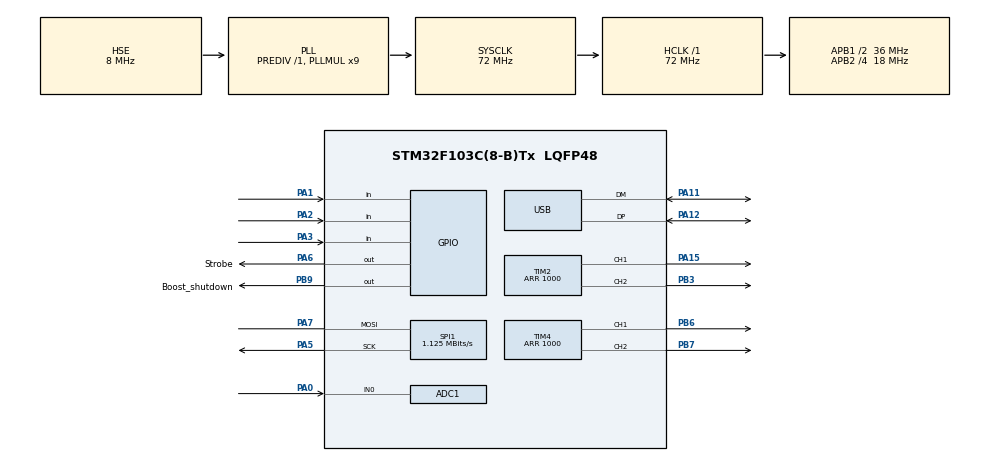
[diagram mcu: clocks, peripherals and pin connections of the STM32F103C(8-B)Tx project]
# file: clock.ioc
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ADC1.Channel-7\#ChannelRegularConversion=ADC_CHANNEL_0
ADC1.InjNumberOfConversion=0
ADC1.NbrOfConversionFlag=1
ADC1.Rank-7\#ChannelRegularConversion=1
ADC1.SamplingTime-7\#ChannelRegularConversion=ADC_SAMPLETIME_1CYCLE_5
ADC1.master=1
FREERTOS.Tasks01=defaultTask,0,128,StartDefaultTask,Default,NULL
FREERTOS.configTOTAL_HEAP_SIZE=4096
Mcu.Family=STM32F1
Mcu.Name=STM32F103C(8-B)Tx
Mcu.Package=LQFP48
NVIC.PriorityGroup=NVIC_PRIORITYGROUP_4
NVIC.SPI1_IRQn=true\:5\:0\:false\:false\:true\:true\:true
NVIC.TIM1_UP_IRQn=true\:0\:0\:false\:false\:true\:false\:false
NVIC.TIM3_IRQn=true\:10\:0\:true\:false\:true\:true\:true
NVIC.TimeBase=TIM1_UP_IRQn
NVIC.TimeBaseIP=TIM1
NVIC.USB_LP_CAN1_RX0_IRQn=true\:5\:0\:false\:false\:true\:true\:false
PA0-WKUP.Signal=ADCx_IN0
PA1.GPIO_PuPd=GPIO_PULLUP
PA1.Signal=GPIO_Input
PA11.Mode=Device
PA11.Signal=USB_DM
PA12.Mode=Device
PA12.Signal=USB_DP
PA13.Mode=Serial_Wire
PA13.Signal=SYS_JTMS-SWDIO
PA14.Mode=Serial_Wire
PA14.Signal=SYS_JTCK-SWCLK
PA15.Signal=S_TIM2_CH1_ETR
PA2.GPIO_PuPd=GPIO_PULLUP
PA2.Signal=GPIO_Input
PA3.GPIO_PuPd=GPIO_PULLUP
PA3.Signal=GPIO_Input
PA5.Mode=Simplex_Bidirectional_Master
PA5.Signal=SPI1_SCK
PA6.GPIO_Label=Strobe
PA6.Signal=GPIO_Output
PA7.Mode=Simplex_Bidirectional_Master
PA7.Signal=SPI1_MOSI
PB3.Signal=S_TIM2_CH2
PB6.Signal=S_TIM4_CH1
PB7.Signal=S_TIM4_CH2
PB9.GPIO_Label=Boost_shutdown
PB9.GPIO_PuPd=GPIO_NOPULL
PB9.PinState=GPIO_PIN_SET
PB9.Signal=GPIO_Output
PC14-OSC32_IN.Mode=LSE-External-Oscillator
PC14-OSC32_IN.Signal=RCC_OSC32_IN
PC15-OSC32_OUT.Mode=LSE-External-Oscillator
PC15-OSC32_OUT.Signal=RCC_OSC32_OUT
PD0-OSC_IN.Mode=HSE-External-Oscillator
PD0-OSC_IN.Signal=RCC_OSC_IN
PD1-OSC_OUT.Mode=HSE-External-Oscillator
PD1-OSC_OUT.Signal=RCC_OSC_OUT
ProjectManager.HeapSize=0x200
ProjectManager.StackSize=0x400
ProjectManager.TargetToolchain=EWARM V8
RCC.ADCPresc=RCC_ADCPCLK2_DIV6
RCC.AHBFreq_Value=72000000
RCC.APB1CLKDivider=RCC_HCLK_DIV2
RCC.APB1Freq_Value=36000000
RCC.APB1TimFreq_Value=72000000
RCC.APB2CLKDivider=RCC_HCLK_DIV4
RCC.APB2Freq_Value=18000000
RCC.APB2TimCLKDivider=2
RCC.APB2TimFreq_Value=36000000
RCC.EnbaleCSS=true
RCC.HCLKFreq_Value=72000000
RCC.LSE_Timout=500
RCC.PLLMUL=RCC_PLL_MUL9
RCC.PLLSourceVirtual=RCC_PLLSOURCE_HSE
RCC.RTCClockSelection=RCC_RTCCLKSOURCE_LSE
RCC.SYSCLKFreq_VALUE=72000000
RCC.SYSCLKSource=RCC_SYSCLKSOURCE_PLLCLK
RCC.USBFreq_Value=48000000
RCC.USBPrescaler=RCC_USBCLKSOURCE_PLL_DIV1_5
RTC.Date=21
RTC.Format=RTC_FORMAT_BIN
RTC.Hours=18
RTC.Month=RTC_MONTH_APRIL
RTC.WeekDay=RTC_WEEKDAY_SUNDAY
RTC.Year=19
SH.ADCx_IN0.0=ADC1_IN0,IN0
SH.S_TIM2_CH1_ETR.0=TIM2_CH1,PWM Generation1 CH1
SH.S_TIM2_CH2.0=TIM2_CH2,PWM Generation2 CH2
SH.S_TIM4_CH1.0=TIM4_CH1,PWM Generation1 CH1
SH.S_TIM4_CH2.0=TIM4_CH2,PWM Generation2 CH2
SPI1.BaudRatePrescaler=SPI_BAUDRATEPRESCALER_16
SPI1.CLKPhase=SPI_PHASE_2EDGE
SPI1.CLKPolarity=SPI_POLARITY_LOW
SPI1.CRCCalculation=SPI_CRCCALCULATION_DISABLE
SPI1.CalculateBaudRate=1.125 MBits/s
SPI1.Direction=SPI_DIRECTION_1LINE
SPI1.Mode=SPI_MODE_MASTER
SPI1.VirtualType=VM_MASTER
TIM2.Channel-PWM\ Generation1\ CH1=TIM_CHANNEL_1
TIM2.Channel-PWM\ Generation2\ CH2=TIM_CHANNEL_2
TIM2.Period=1000
TIM2.Pulse-PWM\ Generation1\ CH1=680
TIM2.Pulse-PWM\ Generation2\ CH2=680
TIM3.AutoReloadPreload=TIM_AUTORELOAD_PRELOAD_DISABLE
TIM3.Period=7200
TIM3.Prescaler=0
TIM4.Channel-PWM\ Generation1\ CH1=TIM_CHANNEL_1
TIM4.Channel-PWM\ Generation2\ CH2=TIM_CHANNEL_2
TIM4.Period=1000
TIM4.Pulse-PWM\ Generation1\ CH1=680
TIM4.Pulse-PWM\ Generation2\ CH2=680
USB_DEVICE.CLASS_NAME_FS=CDC
USB_DEVICE.VirtualMode=Cdc
USB_DEVICE.VirtualModeFS=Cdc_FS
VP_CRC_VS_CRC.Mode=CRC_Activate
VP_FREERTOS_VS_ENABLE.Mode=Enabled
VP_RTC_VS_RTC_Activate.Mode=RTC_Enabled
VP_RTC_VS_RTC_Calendar.Mode=RTC_Calendar
VP_SYS_VS_tim1.Mode=TIM1
VP_TIM3_VS_ClockSourceINT.Mode=Internal
VP_USB_DEVICE_VS_USB_DEVICE_CDC_FS.Mode=CDC_FS
board=custom

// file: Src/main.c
/* USER CODE BEGIN Header */
/**
  ******************************************************************************
  * @file           : main.c
  * @brief          : Main program body
  ******************************************************************************
  * This notice applies to any and all portions of this file
  * that are not between comment pairs USER CODE BEGIN and
  * USER CODE END. Other portions of this file, whether
  * inserted by the user or by software development tools
  * are owned by their respective copyright owners.
  *
  * Copyright (c) 2019 STMicroelectronics International N.V.
  * All rights reserved.
  *
  * Redistribution and use in source and binary forms, with or without
  * modification, are permitted, provided that the following conditions are met:
  *
  * 1. Redistribution of source code must retain the above copyright notice,
  *    this list of conditions and the following disclaimer.
  * 2. Redistributions in binary form must reproduce the above copyright notice,
  *    this list of conditions and the following disclaimer in the documentation
  *    and/or other materials provided with the distribution.
  * 3. Neither the name of STMicroelectronics nor the names of other
  *    contributors to this software may be used to endorse or promote products
  *    derived from this software without specific written permission.
  * 4. This software, including modifications and/or derivative works of this
  *    software, must execute solely and exclusively on microcontroller or
  *    microprocessor devices manufactured by or for STMicroelectronics.
  * 5. Redistribution and use of this software other than as permitted under
  *    this license is void and will automatically terminate your rights under
  *    this license.
  *
  * THIS SOFTWARE IS PROVIDED BY STMICROELECTRONICS AND CONTRIBUTORS "AS IS"
  * AND ANY EXPRESS, IMPLIED OR STATUTORY WARRANTIES, INCLUDING, BUT NOT
  * LIMITED TO, THE IMPLIED WARRANTIES OF MERCHANTABILITY, FITNESS FOR A
  * PARTICULAR PURPOSE AND NON-INFRINGEMENT OF THIRD PARTY INTELLECTUAL PROPERTY
  * RIGHTS ARE DISCLAIMED TO THE FULLEST EXTENT PERMITTED BY LAW. IN NO EVENT
  * SHALL STMICROELECTRONICS OR CONTRIBUTORS BE LIABLE FOR ANY DIRECT, INDIRECT,
  * INCIDENTAL, SPECIAL, EXEMPLARY, OR CONSEQUENTIAL DAMAGES (INCLUDING, BUT NOT
  * LIMITED TO, PROCUREMENT OF SUBSTITUTE GOODS OR SERVICES; LOSS OF USE, DATA,
  * OR PROFITS; OR BUSINESS INTERRUPTION) HOWEVER CAUSED AND ON ANY THEORY OF
  * LIABILITY, WHETHER IN CONTRACT, STRICT LIABILITY, OR TORT (INCLUDING
  * NEGLIGENCE OR OTHERWISE) ARISING IN ANY WAY OUT OF THE USE OF THIS SOFTWARE,
  * EVEN IF ADVISED OF THE POSSIBILITY OF SUCH DAMAGE.
  *
  ******************************************************************************
  */
/* USER CODE END Header */

#include "main.h"
#include "cmsis_os.h"
#include "adc.h"
#include "crc.h"
#include "rtc.h"
#include "spi.h"
#include "tim.h"
#include "usb_device.h"
#include "gpio.h"

/* USER CODE BEGIN Includes */
#include <stdio.h>
#include <stdarg.h>
/* USER CODE END Includes */

void SystemClock_Config(void);
void MX_FREERTOS_Init(void);
/* USER CODE BEGIN PFP */

void task_usb_read(void const * argument);
void StartButtonTask(void const * argument);

/* USER CODE END PFP */

/* USER CODE BEGIN 0 */

void term_print ( const char * format, ... )
{
  char buffer[32];

  va_list args;
  va_start (args, format);
  int outlen = vsprintf(buffer, format, args);
  CDC_Transmit_FS(buffer, outlen);
  va_end (args);
}

/* USER CODE END 0 */

int main(void)
{

  /* MCU Configuration--------------------------------------------------------*/

  /* Reset of all peripherals, Initializes the Flash interface and the Systick. */
  HAL_Init();

  /* Configure the system clock */
  SystemClock_Config();

  /* Initialize all configured peripherals */
  MX_GPIO_Init();
  MX_TIM2_Init();
  MX_TIM4_Init();
  MX_SPI1_Init();
  MX_RTC_Init();
  MX_ADC1_Init();
  MX_CRC_Init();
  MX_TIM3_Init();

  /* Call init function for freertos objects (in freertos.c) */
  MX_FREERTOS_Init();

  /* Start scheduler */
  osKernelStart();

  /* We should never get here as control is now taken by the scheduler */

  /* Infinite loop */
  while (1)
  {

  }
}

void SystemClock_Config(void)
{
  RCC_OscInitTypeDef RCC_OscInitStruct = {0};
  RCC_ClkInitTypeDef RCC_ClkInitStruct = {0};
  RCC_PeriphCLKInitTypeDef PeriphClkInit = {0};

  /**Initializes the CPU, AHB and APB busses clocks
  */
  RCC_OscInitStruct.OscillatorType = RCC_OSCILLATORTYPE_HSE|RCC_OSCILLATORTYPE_LSE;
  RCC_OscInitStruct.HSEState = RCC_HSE_ON;
  RCC_OscInitStruct.HSEPredivValue = RCC_HSE_PREDIV_DIV1;
  RCC_OscInitStruct.LSEState = RCC_LSE_ON;
  RCC_OscInitStruct.HSIState = RCC_HSI_ON;
  RCC_OscInitStruct.PLL.PLLState = RCC_PLL_ON;
  RCC_OscInitStruct.PLL.PLLSource = RCC_PLLSOURCE_HSE;
  RCC_OscInitStruct.PLL.PLLMUL = RCC_PLL_MUL9;
  if (HAL_RCC_OscConfig(&RCC_OscInitStruct) != HAL_OK)
  {
    Error_Handler();
  }
  /**Initializes the CPU, AHB and APB busses clocks
  */
  RCC_ClkInitStruct.ClockType = RCC_CLOCKTYPE_HCLK|RCC_CLOCKTYPE_SYSCLK
                              |RCC_CLOCKTYPE_PCLK1|RCC_CLOCKTYPE_PCLK2;
  RCC_ClkInitStruct.SYSCLKSource = RCC_SYSCLKSOURCE_PLLCLK;
  RCC_ClkInitStruct.AHBCLKDivider = RCC_SYSCLK_DIV1;
  RCC_ClkInitStruct.APB1CLKDivider = RCC_HCLK_DIV2;
  RCC_ClkInitStruct.APB2CLKDivider = RCC_HCLK_DIV4;

  if (HAL_RCC_ClockConfig(&RCC_ClkInitStruct, FLASH_LATENCY_2) != HAL_OK)
  {
    Error_Handler();
  }
  PeriphClkInit.PeriphClockSelection = RCC_PERIPHCLK_RTC|RCC_PERIPHCLK_ADC
                              |RCC_PERIPHCLK_USB;
  PeriphClkInit.RTCClockSelection = RCC_RTCCLKSOURCE_LSE;
  PeriphClkInit.AdcClockSelection = RCC_ADCPCLK2_DIV6;
  PeriphClkInit.UsbClockSelection = RCC_USBCLKSOURCE_PLL_DIV1_5;
  if (HAL_RCCEx_PeriphCLKConfig(&PeriphClkInit) != HAL_OK)
  {
    Error_Handler();
  }
  /**Enables the Clock Security System
  */
  HAL_RCC_EnableCSS();
}

/* USER CODE BEGIN 4 */

uint8_t* CDC_Receive(uint32_t *Len);

    //uint8_t reg_state[8] = {0xAA,0xAA,0xAA,0xAA,  0xAA,0xAA,0xAA,0xAA};
   // uint8_t reg_state[8] = {0xFF, 0xFF, 0xFF, 0xFF, 0xFF, 0xFF, 0xFF, 0xFF };

void task_usb_read(void const * argument)
{
  uint32_t outsize;

  uint32_t cnt = 0;

  while(1){
    uint32_t len;
    uint8_t* buf;

    buf = CDC_Receive(&len);
    if(!buf){
      continue;
    }

    buf[len] = 0;

    int number;

    if(buf[0] == '+'){
      number = cnt++;
    }else {
    sscanf(buf, "%d", &number);
    }
   char pbuf[50];
   CDC_Transmit_FS("Sent: ", 6);

   outsize = sprintf(pbuf, "len %d %d %s, number: %d", len, outsize, buf, number);

   CDC_Transmit_FS(pbuf, outsize);
  }
}

/* USER CODE END 4 */

void HAL_TIM_PeriodElapsedCallback(TIM_HandleTypeDef *htim)
{
  if (htim->Instance == TIM1) {
    HAL_IncTick();
  }
}

void Error_Handler(void)
{
}

/************************ (C) COPYRIGHT STMicroelectronics *****END OF FILE****/

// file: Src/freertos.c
/* USER CODE BEGIN Header */
/**
  ******************************************************************************
  * File Name          : freertos.c
  * Description        : Code for freertos applications
  ******************************************************************************
  * This notice applies to any and all portions of this file
  * that are not between comment pairs USER CODE BEGIN and
  * USER CODE END. Other portions of this file, whether
  * inserted by the user or by software development tools
  * are owned by their respective copyright owners.
  *
  * Copyright (c) 2019 STMicroelectronics International N.V.
  * All rights reserved.
  *
  * Redistribution and use in source and binary forms, with or without
  * modification, are permitted, provided that the following conditions are met:
  *
  * 1. Redistribution of source code must retain the above copyright notice,
  *    this list of conditions and the following disclaimer.
  * 2. Redistributions in binary form must reproduce the above copyright notice,
  *    this list of conditions and the following disclaimer in the documentation
  *    and/or other materials provided with the distribution.
  * 3. Neither the name of STMicroelectronics nor the names of other
  *    contributors to this software may be used to endorse or promote products
  *    derived from this software without specific written permission.
  * 4. This software, including modifications and/or derivative works of this
  *    software, must execute solely and exclusively on microcontroller or
  *    microprocessor devices manufactured by or for STMicroelectronics.
  * 5. Redistribution and use of this software other than as permitted under
  *    this license is void and will automatically terminate your rights under
  *    this license.
  *
  * THIS SOFTWARE IS PROVIDED BY STMICROELECTRONICS AND CONTRIBUTORS "AS IS"
  * AND ANY EXPRESS, IMPLIED OR STATUTORY WARRANTIES, INCLUDING, BUT NOT
  * LIMITED TO, THE IMPLIED WARRANTIES OF MERCHANTABILITY, FITNESS FOR A
  * PARTICULAR PURPOSE AND NON-INFRINGEMENT OF THIRD PARTY INTELLECTUAL PROPERTY
  * RIGHTS ARE DISCLAIMED TO THE FULLEST EXTENT PERMITTED BY LAW. IN NO EVENT
  * SHALL STMICROELECTRONICS OR CONTRIBUTORS BE LIABLE FOR ANY DIRECT, INDIRECT,
  * INCIDENTAL, SPECIAL, EXEMPLARY, OR CONSEQUENTIAL DAMAGES (INCLUDING, BUT NOT
  * LIMITED TO, PROCUREMENT OF SUBSTITUTE GOODS OR SERVICES; LOSS OF USE, DATA,
  * OR PROFITS; OR BUSINESS INTERRUPTION) HOWEVER CAUSED AND ON ANY THEORY OF
  * LIABILITY, WHETHER IN CONTRACT, STRICT LIABILITY, OR TORT (INCLUDING
  * NEGLIGENCE OR OTHERWISE) ARISING IN ANY WAY OUT OF THE USE OF THIS SOFTWARE,
  * EVEN IF ADVISED OF THE POSSIBILITY OF SUCH DAMAGE.
  *
  ******************************************************************************
  */
/* USER CODE END Header */

#include "FreeRTOS.h"
#include "task.h"
#include "main.h"
#include "cmsis_os.h"

/* USER CODE BEGIN Includes */
#include "adc.h"
#include "rtc.h"
#include "spi.h"
#include "tim.h"
#include "usb_device.h"
#include "gpio.h"

#include "h/task_controls.h"
#include "h/tube.h"

/* USER CODE END Includes */

osThreadId defaultTaskHandle;

/* USER CODE BEGIN FunctionPrototypes */

void StartClockTask(void const * argument);

/* USER CODE END FunctionPrototypes */

void StartDefaultTask(void const * argument);

extern void MX_USB_DEVICE_Init(void);
void MX_FREERTOS_Init(void); /* (MISRA C 2004 rule 8.1) */

void MX_FREERTOS_Init(void) {

  /* Create the thread(s) */
  /* definition and creation of defaultTask */
  osThreadDef(defaultTask, StartDefaultTask, osPriorityNormal, 0, 128);
  defaultTaskHandle = osThreadCreate(osThread(defaultTask), NULL);

  /* USER CODE BEGIN RTOS_THREADS */
  /* add threads, ... */

  //osThreadDef(usbTask, task_usb_read, osPriorityNormal, 0, 128);
  //osThreadCreate(osThread(usbTask), NULL);

  osThreadDef(btnTask, StartControlsTask, osPriorityNormal, 0, 256);
  osThreadCreate(osThread(btnTask), NULL);

  osThreadDef(displayTask, DisplayIndicationTask, osPriorityNormal, 0, 128);
  osThreadCreate(osThread(displayTask), NULL);

   osThreadDef(clockTask, StartClockTask, osPriorityNormal, 0, 128);
   osThreadCreate(osThread(clockTask), NULL);

  /* USER CODE END RTOS_THREADS */

}

void StartDefaultTask(void const * argument)
{
  /* init code for USB_DEVICE */
  MX_USB_DEVICE_Init();

  /* USER CODE BEGIN StartDefaultTask */
  /* Infinite loop */
    osDelay(1);

 HAL_TIM_Base_Start_IT(&htim3);

 HAL_TIM_Base_Start(&htim2);
 HAL_TIM_PWM_Start(&htim2,TIM_CHANNEL_1);
 HAL_TIM_PWM_Start(&htim2,TIM_CHANNEL_2);

  //__HAL_TIM_SET_COMPARE(&htim2, TIM_CHANNEL_1, 7000); //sets the PWM duty cycle

 HAL_TIM_Base_Start(&htim4);
 HAL_TIM_PWM_Start(&htim4,TIM_CHANNEL_1);
 HAL_TIM_PWM_Start(&htim4,TIM_CHANNEL_2);

  //__HAL_TIM_SET_COMPARE(&htim2, TIM_CHANNEL_1, 10000); //sets the PWM duty cycle

  tube_reset_state();
  tube_set_digit(0, 0);
  tube_set_digit(1, 1);
  tube_set_dot(1);

  tube_set_digit(2, 2);
  tube_set_digit(3, 3);
  tube_refresh_all();

  display_init_animation(ANIMATION_ROLL);

    osDelay(100);
    HAL_GPIO_WritePin(GPIOC, GPIO_PIN_13, GPIO_PIN_RESET);
    osDelay(100);
    HAL_GPIO_WritePin(GPIOC, GPIO_PIN_13, GPIO_PIN_SET);

    HAL_GPIO_WritePin(Boost_shutdown_GPIO_Port, Boost_shutdown_Pin, GPIO_PIN_RESET);

    HAL_GPIO_WritePin(Strobe_GPIO_Port, Strobe_Pin, GPIO_PIN_SET);
    osDelay(1);

    uint8_t n = 0;

    vTaskDelete( NULL );
    for(;;)
  {

      RTC_TimeTypeDef sTime = {0};
      RTC_DateTypeDef sDate = {0};

    if (HAL_RTC_GetTime(&hrtc, &sTime, RTC_FORMAT_BIN) != HAL_OK){
      Error_Handler();
    }

    if (HAL_RTC_GetDate(&hrtc, &sDate, RTC_FORMAT_BIN) != HAL_OK){
      Error_Handler();
    }

    tube_set_current_all(2);
    display_init_animation(ANIMATION_ROLL);

    tube_set_pwm(3);

    display_digit(0, sTime.Minutes / 10 );
    display_digit(1, sTime.Minutes % 10 );

    tube_set_dot(sTime.Seconds % 4);

    display_digit(2, sTime.Seconds / 10 );
    display_digit(3, sTime.Seconds % 10 );

    display_start_animation();

    n = (n + 1) % 10;
    //HAL_GPIO_WritePin(Strobe_GPIO_Port, Strobe_Pin, GPIO_PIN_RESET);
    osDelay(1000);
  }

  /* USER CODE END StartDefaultTask */
}

/************************ (C) COPYRIGHT STMicroelectronics *****END OF FILE****/
